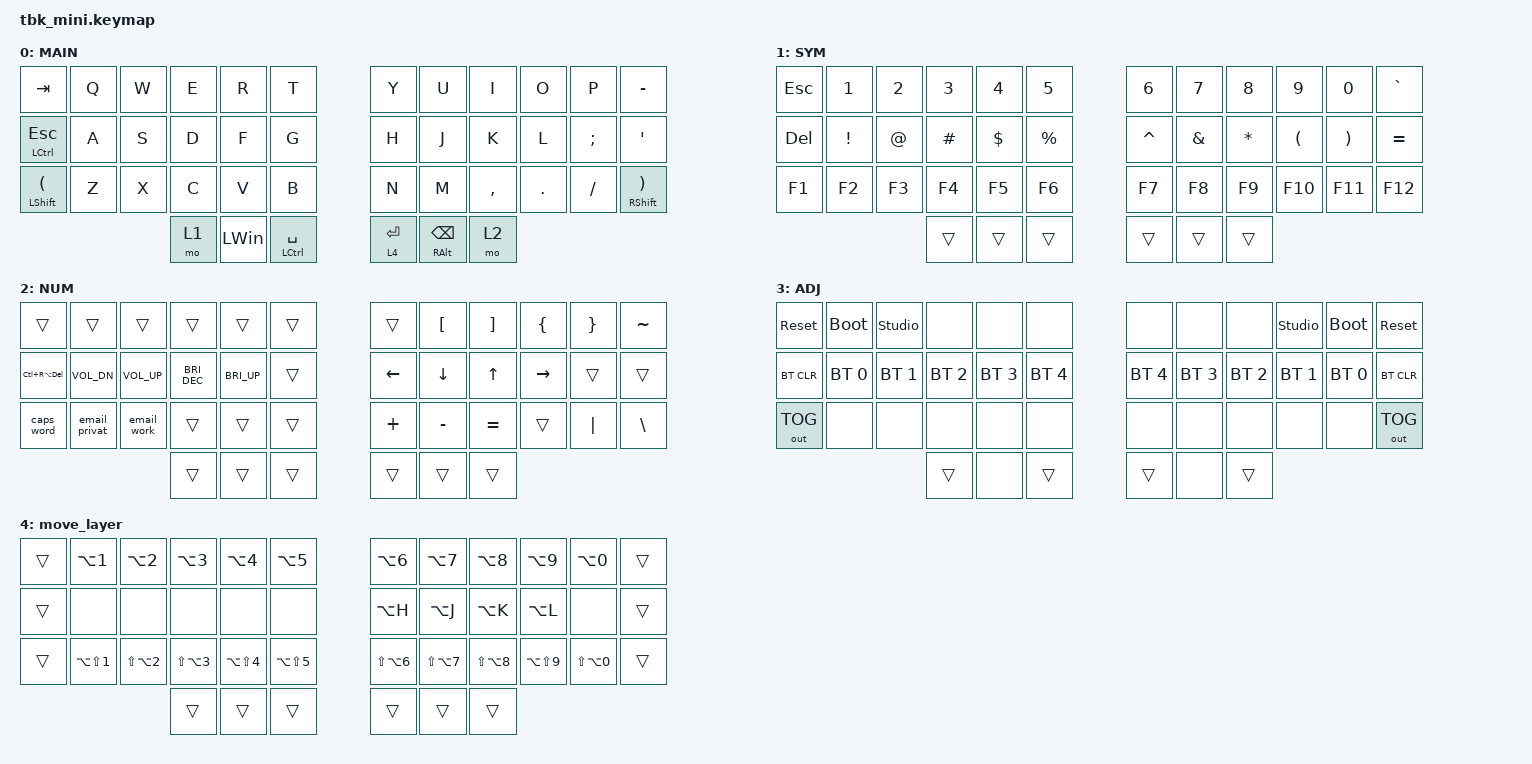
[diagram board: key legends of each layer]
/*
 * Copyright (c) 2023 The ZMK Contributors
 *
 * SPDX-License-Identifier: MIT
 */

#include <behaviors.dtsi>
#include <dt-bindings/zmk/bt.h>
#include <dt-bindings/zmk/keys.h>
#include <dt-bindings/zmk/outputs.h>

#define DEF 0
#define LWR 1
#define RSE 2
#define ADJ 3

&lt { quick-tap-ms = <200>; };

&mt { quick-tap-ms = <200>; };

/ {
    conditional_layers {
        compatible = "zmk,conditional-layers";

        tri_layer {
            if-layers = <1 2>;
            then-layer = <3>;
        };
    };

    macros {
        email_privat: email_privat {
            compatible = "zmk,behavior-macro";
            #binding-cells = <0>;
            bindings = <&none &kp L &kp U &kp K &kp A &kp S &kp DOT &kp F &kp R &kp I &kp T &kp S &kp C &kp H &kp AT &kp P &kp R &kp O &kp T &kp O &kp N &kp M &kp A &kp I &kp L &kp DOT &kp C &kp O &kp M>;
            label = "EMAIL_PRIVAT";
            wait-ms = <10>;
        };

        email_work: email_work {
            compatible = "zmk,behavior-macro";
            #binding-cells = <0>;
            bindings = <&none &kp L &kp U &kp K &kp A &kp S &kp DOT &kp F &kp R &kp I &kp T &kp S &kp C &kp H &kp AT &kp F &kp R &kp E &kp Q &kp U &kp E &kp N &kp T &kp I &kp S &kp DOT &kp C &kp O &kp M>;
            label = "EMAIL_WORK";
            wait-ms = <10>;
        };
    };

    keymap {
        compatible = "zmk,keymap";

        default_layer {
            display-name = "MAIN";

            // -----------------------------------------------------------------------------------------
            // |   ~  |  Q  |  W  |  E  |  R  |  T  |   |  Y  |  U   |  I  |  O  |  P  |  [   |
            // | CTRL |  A  |  S  |  D  |  F  |  G  |   |  H  |  J   |  K  |  L  |  ;  |CTRL/'|
            // | LALT |  Z  |  X  |  C  |  V  |  B  |   |  N  |  M   |  ,  |  .  |  /  |RALT/\|
            //                    | RSE | SPC | LWR |   | LWR | BKSP | RSE |

            bindings = <
&kp TAB                          &kp Q  &kp W  &kp E  &kp R         &kp T              &kp Y        &kp U                    &kp I      &kp O    &kp P     &kp MINUS
&mt LCTRL ESCAPE                 &kp A  &kp S  &kp D  &kp F         &kp G              &kp H        &kp J                    &kp K      &kp L    &kp SEMI  &kp APOSTROPHE
&mt LEFT_SHIFT LEFT_PARENTHESIS  &kp Z  &kp X  &kp C  &kp V         &kp B              &kp N        &kp M                    &kp COMMA  &kp DOT  &kp FSLH  &mt RIGHT_SHIFT RIGHT_PARENTHESIS
                                               &mo 1  &kp LEFT_WIN  &mt LCTRL SPACE    &lt 4 ENTER  &mt RIGHT_ALT BACKSPACE  &mo 2
            >;
        };

        lower_layer {
            display-name = "SYM";

            // -----------------------------------------------------------------------------------------
            // |  _  |  F1 |  F2 |  F3 |  F4 |  F5 |   |  F6 |  F7 |  F8 |  F9 | F10 | F11 |
            // |  +  |  !  |  @  |  #  |  $  |  %  |   |  ^  |  &  |  *  |  (  |  )  |  -  |
            // |  =  |  1  |  2  |  3  |  4  |  5  |   |  6  |  7  |  8  |  9  |  0  | F12 |
            //                   | ADJ |     |     |   |     |     | ADJ |

            bindings = <
&kp ESCAPE  &kp NUMBER_1  &kp NUMBER_2  &kp NUMBER_3  &kp NUMBER_4  &kp N5       &kp NUMBER_6  &kp N7    &kp N8    &kp N9    &kp N0    &kp GRAVE
&kp DELETE  &kp EXCL      &kp AT        &kp HASH      &kp DLLR      &kp PRCNT    &kp CARET     &kp AMPS  &kp STAR  &kp LPAR  &kp RPAR  &kp EQUAL
&kp F1      &kp F2        &kp F3        &kp F4        &kp F5        &kp F6       &kp F7        &kp F8    &kp F9    &kp F10   &kp F11   &kp F12
                                        &trans        &trans        &trans       &trans        &trans    &trans
            >;
        };

        raise_layer {
            display-name = "NUM";

            // -----------------------------------------------------------------------------------------
            // | NMLK |  /  |  7  |  8  |  9  |  -  |   | VOLU| HOME| PRSC| PGUP| SCLK| CLCK|
            // |CTRL/=|  *  |  4  |  5  |  6  |  +  |   | MUT | LEFT|  UP | RGHT| INS | APP |
            // |      |  0  |  1  |  2  |  3  |  .  |   | VOLD| END | DOWN| PGDN| PAUS|     |
            //                    |     |     | ADJ |   | ADJ |     |     |

            bindings = <
&trans              &trans         &trans           &trans                &trans        &trans    &trans          &kp LEFT_BRACKET  &kp RIGHT_BRACKET  &kp LEFT_BRACE  &kp RIGHT_BRACE  &kp TILDE
&kp LC(RA(DELETE))  &kp C_VOL_DN   &kp C_VOLUME_UP  &kp C_BRIGHTNESS_DEC  &kp C_BRI_UP  &trans    &kp LEFT_ARROW  &kp DOWN_ARROW    &kp UP             &kp RIGHT       &trans           &trans
&caps_word          &email_privat  &email_work      &trans                &trans        &trans    &kp PLUS        &kp MINUS         &kp EQUAL          &trans          &kp PIPE         &kp BACKSLASH
                                                    &trans                &trans        &trans    &trans          &trans            &trans
            >;
        };

        adjust_layer {
            display-name = "ADJ";

            // -----------------------------------------------------------------------------------------
            // | RST  | BLDR| STU |     |     |     |   |     |     |     | STU | BLDR| RST  |
            // | BTCLR| BT0 | BT1 | BT2 | BT3 | BT4 |   | BT4 | BT3 | BT2 | BT1 | BT0 | BTCLR|
            // | OUT  |     |     |     |     |     |   |     |     |     |     |     | OUT  |
            //                    |     |     |     |   |     |     |     |

            bindings = <
&sys_reset    &bootloader   &studio_unlock  &none         &none         &none           &none         &none         &none         &studio_unlock  &bootloader   &sys_reset
&bt BT_CLR    &bt BT_SEL 0  &bt BT_SEL 1    &bt BT_SEL 2  &bt BT_SEL 3  &bt BT_SEL 4    &bt BT_SEL 4  &bt BT_SEL 3  &bt BT_SEL 2  &bt BT_SEL 1    &bt BT_SEL 0  &bt BT_CLR
&out OUT_TOG  &none         &none           &none         &none         &none           &none         &none         &none         &none           &none         &out OUT_TOG
                                            &trans        &none         &trans          &trans        &none         &trans
            >;
        };

        move_layer {
            bindings = <
&trans  &kp LA(N1)      &kp LA(N2)      &kp LA(N3)      &kp LA(N4)      &kp LA(N5)        &kp LA(N6)      &kp LA(N7)      &kp LA(N8)      &kp LA(N9)      &kp LA(N0)      &trans
&trans  &none           &none           &none           &none           &none             &kp LA(H)       &kp LA(J)       &kp LA(K)       &kp LA(L)       &none           &trans
&trans  &kp LA(LS(N1))  &kp LS(LA(N2))  &kp LS(LA(N3))  &kp LA(LS(N4))  &kp LA(LS(N5))    &kp LS(LA(N6))  &kp LS(LA(N7))  &kp LS(LA(N8))  &kp LA(LS(N9))  &kp LS(LA(N0))  &trans
                                        &trans          &trans          &trans            &trans          &trans          &trans
            >;
        };
    };
};
